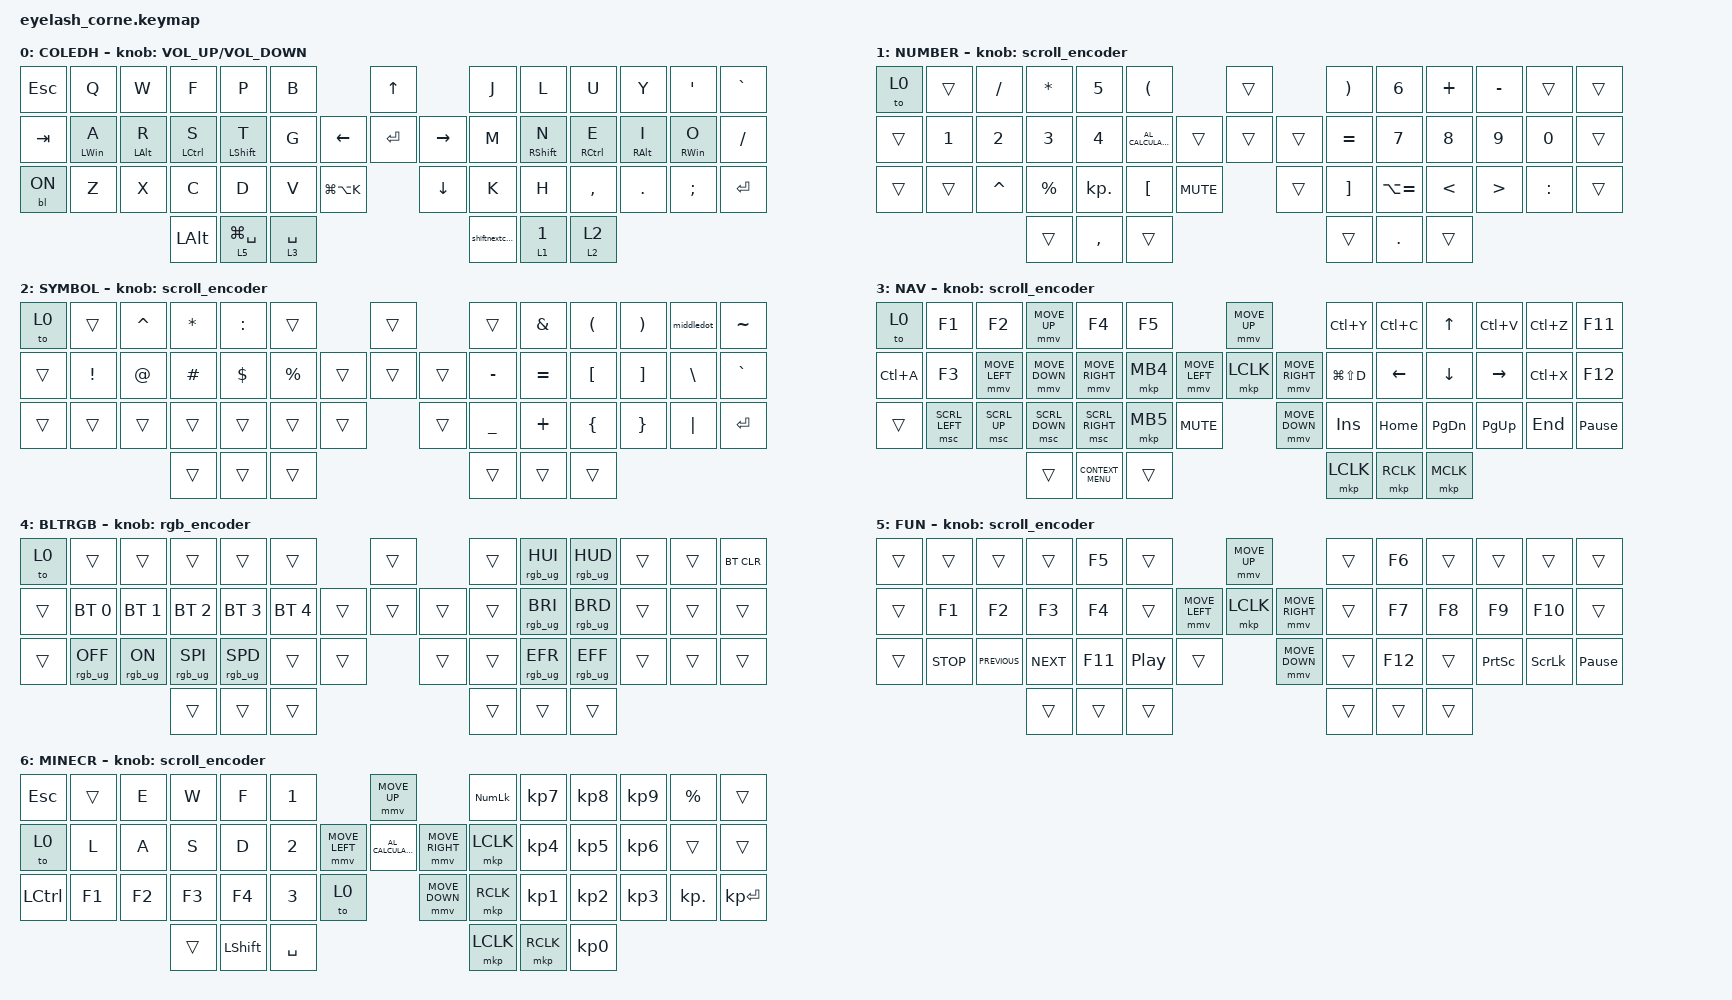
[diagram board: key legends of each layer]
#include <behaviors/num_word.dtsi> // urob's num word from zkm auto layer
#include <dt-bindings/zmk/mouse.h>
#include <input/processors.dtsi>

#define ZMK_POINTING_DEFAULT_MOVE_VAL 1800  // 600, 1200
#define ZMK_MOUSE_DEFAULT_SCRL_VAL 20    // 10

#include <behaviors.dtsi>
#include <dt-bindings/zmk/backlight.h>
#include <dt-bindings/zmk/bt.h>
#include <dt-bindings/zmk/keys.h>
#include <dt-bindings/zmk/pointing.h>
#include <dt-bindings/zmk/pointing.h>
#include <dt-bindings/zmk/pointing.h>
#include <dt-bindings/zmk/rgb.h>

/ {
    behaviors {
        mmv {
            acceleration-exponent = <2>;      // 1
            time-to-max-speed-ms = <40>;    // 40
            delay-ms = <0>;                   // 0
        };

        shiftnextcaps: shiftnextcaps {
            compatible = "zmk,behavior-tap-dance";
            display-name = "Shift/Caps Lock Tap Dance";
            #binding-cells = <0>;
            bindings = <&sk RIGHT_SHIFT>, <&kp CAPS>;

            label = "shiftnextcaps";
        };

        hml: hml {
            compatible = "zmk,behavior-hold-tap";
            label = "HML";
            bindings = <&kp>, <&kp>;

            #binding-cells = <2>;
            tapping-term-ms = <150>;
            quick-tap-ms = <0>;
            flavor = "tap-preferred";
            hold-trigger-key-positions = <14 15 16 17 23 24 25 26>;
        };

        sk_mo: sk_mo {
            compatible = "zmk,behavior-hold-tap";
            label = "SK_MO";
            bindings = <&mo>, <&sk>;

            #binding-cells = <2>;
            tapping-term-ms = <150>;
            flavor = "tap-preferred";
        };

        sl_mo: sl_mo {
            compatible = "zmk,behavior-hold-tap";
            label = "SL_MO";
            bindings = <&mo>, <&sl>;

            #binding-cells = <2>;
            tapping-term-ms = <160>;
            flavor = "tap-preferred";
        };

        num_word: num_word {
            compatible = "zmk,behavior-auto-layer";
            #binding-cells = <1>;
            continue-list = <BSPC DEL DOT COMMA PLUS MINUS STAR FSLH EQUAL>;
            ignore-numbers;
        };

        smart_num: smart_num {
            compatible = "zmk,behavior-hold-tap";
            label = "SMART_NUM";
            bindings = <&mo>, <&num_word>;

            #binding-cells = <2>;
            tapping-term-ms = <150>;
            flavor = "tap-preferred";
        };
    };

    rgb_encoder: rgb_encoder {
        compatible = "zmk,behavior-sensor-rotate";
        #sensor-binding-cells = <0>;
        bindings = <&rgb_ug RGB_BRI>, <&rgb_ug RGB_BRD>;
    };

    scroll_encoder: scroll_encoder {
        compatible = "zmk,behavior-sensor-rotate";
        #sensor-binding-cells = <0>;
        bindings = <&msc SCRL_DOWN>, <&msc SCRL_UP>;

        tap-ms = <30>;
    };

    combos {
        compatible = "zmk,combos";

        ToBLT {
            bindings = <&to 4>;
            key-positions = <5 7>;
            layers = <0>;
        };

        ToMNCR {
            bindings = <&tog 6>;
            key-positions = <0 1>;
            layers = <0>;
        };

        ToNum {
            bindings = <&to 1>;
            key-positions = <46 24>;
            layers = <0>;
        };

        ToSymbol {
            bindings = <&to 2>;
            key-positions = <24 47>;
            layers = <0>;
        };

        ToNav {
            bindings = <&to 3>;
            key-positions = <44 16>;
            layers = <0>;
        };

        cmb_back {
            bindings = <&kp BACKSPACE>;
            key-positions = <23 24>;
        };

        cmb_del {
            bindings = <&kp DEL>;
            key-positions = <24 25>;
        };

        numplus {
            bindings = <&kp KP_PLUS>;
            key-positions = <37 38>;
            layers = <6 1>;
        };

        numminus {
            bindings = <&kp KP_MINUS>;
            key-positions = <38 39>;
            layers = <6 1>;
        };

        nummulti {
            bindings = <&kp KP_MULTIPLY>;
            key-positions = <9 8>;
            layers = <6 1>;
        };

        numdiv {
            bindings = <&kp KP_DIVIDE>;
            key-positions = <9 10>;
            layers = <6 1>;
        };

        cmb_caps {
            bindings = <&kp CAPS>;
            key-positions = <31 32>;
            layers = <0>;
        };

        smartcaps {
            bindings = <&caps_word>;
            key-positions = <16 17>;
            layers = <0>;
        };

        togblt {
            bindings = <&tog 4>;
            key-positions = <1 2>;
            layers = <0>;
        };
    };

    macros {
        middledot: middledot {
            compatible = "zmk,behavior-macro";
            #binding-cells = <0>;
            bindings =
                <&macro_press>,
                <&kp LEFT_ALT>,
                <&macro_tap>,
                <&kp KP_N0 &kp KP_N1 &kp KP_N8 &kp KP_N3>,
                <&macro_release>,
                <&kp LEFT_ALT>;

            label = "MIDDLEDOT";
        };
    };

    keymap {
        compatible = "zmk,keymap";

        default_layer {
            display-name = "COLEDH";
            bindings = <
&kp ESC    &kp Q            &kp W            &kp F         &kp P              &kp B                                   &kp UP                &kp J           &kp L               &kp U         &kp Y             &kp SQT           &kp GRAVE
&kp TAB    &hml LEFT_WIN A  &hml LEFT_ALT R  &hml LCTRL S  &hml LEFT_SHIFT T  &kp G                         &kp LEFT  &kp ENTER  &kp RIGHT  &kp M           &hml RIGHT_SHIFT N  &hml RCTRL E  &hml RIGHT_ALT I  &hml RIGHT_WIN O  &kp FSLH
&bl BL_ON  &kp Z            &kp X            &kp C         &kp D              &kp V        &kp LG(LA(K))              &kp DOWN              &kp K           &kp H               &kp COMMA     &kp DOT           &kp SEMI          &kp RET
                                             &kp LEFT_ALT  &lt 5 LG(SPACE)    &lt 3 SPACE                                                   &shiftnextcaps  &smart_num 1 1      &sl_mo 2 2
            >;

            sensor-bindings = <&inc_dec_kp C_VOLUME_UP C_VOLUME_DOWN>;
            label = "COLEDH";
        };

        lower_layer {
            display-name = "NUMBER";
            bindings = <
&to 0   &trans        &kp FSLH      &kp STAR      &kp N5        &kp LEFT_PARENTHESIS                        &trans          &kp RIGHT_PARENTHESIS  &kp NUMBER_6   &kp PLUS       &kp MINUS         &trans     &trans
&trans  &kp NUMBER_1  &kp NUMBER_2  &kp NUMBER_3  &kp NUMBER_4  &kp C_AL_CALCULATOR                 &trans  &trans  &trans  &kp EQUAL              &kp N7         &kp N8         &kp N9            &kp N0     &trans
&trans  &trans        &kp CARET     &kp PERCENT   &kp KP_DOT    &kp LEFT_BRACKET      &kp C_MUTE            &trans          &kp RIGHT_BRACKET      &kp LA(EQUAL)  &kp LESS_THAN  &kp GREATER_THAN  &kp COLON  &trans
                                    &trans        &kp COMMA     &trans                                                      &trans                 &kp PERIOD     &trans
            >;

            sensor-bindings = <&scroll_encoder>;
        };

        raise_layer {
            display-name = "SYMBOL";
            bindings = <
&to 0   &trans    &kp CARET    &kp STAR  &kp COLON   &trans                         &trans          &trans     &kp AMPS   &kp LEFT_PARENTHESIS  &kp RIGHT_PARENTHESIS  &middledot  &kp TILDE
&trans  &kp EXCL  &kp AT_SIGN  &kp HASH  &kp DOLLAR  &kp PERCENT            &trans  &trans  &trans  &kp MINUS  &kp EQUAL  &kp LBKT              &kp RBKT               &kp BSLH    &kp GRAVE
&trans  &trans    &trans       &trans    &trans      &trans       &trans            &trans          &kp UNDER  &kp PLUS   &kp LBRC              &kp RBRC               &kp PIPE    &kp RET
                               &trans    &trans      &trans                                         &trans     &trans     &trans
            >;

            sensor-bindings = <&scroll_encoder>;
        };

        layer_3 {
            display-name = "NAV";
            bindings = <
&to 0      &kp F1          &kp F2          &mmv MOVE_UP    &kp F4              &kp F5                                  &mmv MOVE_UP                     &kp LC(Y)      &kp LC(C)  &kp UP         &kp LC(V)    &kp LC(Z)  &kp F11
&kp LC(A)  &kp F3          &mmv MOVE_LEFT  &mmv MOVE_DOWN  &mmv MOVE_RIGHT     &mkp MB4                &mmv MOVE_LEFT  &mkp LCLK       &mmv MOVE_RIGHT  &kp LG(LS(D))  &kp LEFT   &kp DOWN       &kp RIGHT    &kp LC(X)  &kp F12
&trans     &msc SCRL_LEFT  &msc SCRL_UP    &msc SCRL_DOWN  &msc SCRL_RIGHT     &mkp MB5  &kp C_MUTE                    &mmv MOVE_DOWN                   &kp INSERT     &kp HOME   &kp PAGE_DOWN  &kp PAGE_UP  &kp END    &kp PAUSE_BREAK
                                           &trans          &kp K_CONTEXT_MENU  &trans                                                                   &mkp LCLK      &mkp RCLK  &mkp MCLK
            >;

            sensor-bindings = <&scroll_encoder>;
            label = "NAV";
        };

        layer_4 {
            bindings = <
&to 0   &trans           &trans          &trans           &trans           &trans                          &trans          &trans  &rgb_ug RGB_HUI  &rgb_ug RGB_HUD  &trans  &trans  &bt BT_CLR
&trans  &bt BT_SEL 0     &bt BT_SEL 1    &bt BT_SEL 2     &bt BT_SEL 3     &bt BT_SEL 4            &trans  &trans  &trans  &trans  &rgb_ug RGB_BRI  &rgb_ug RGB_BRD  &trans  &trans  &trans
&trans  &rgb_ug RGB_OFF  &rgb_ug RGB_ON  &rgb_ug RGB_SPI  &rgb_ug RGB_SPD  &trans        &trans            &trans          &trans  &rgb_ug RGB_EFR  &rgb_ug RGB_EFF  &trans  &trans  &trans
                                         &trans           &trans           &trans                                          &trans  &trans           &trans
            >;

            label = "BLTRGB";
            sensor-bindings = <&rgb_encoder>;
        };

        layer_5 {
            bindings = <
&trans  &trans      &trans          &trans      &kp F5   &trans                                      &mmv MOVE_UP                     &trans  &kp F6   &trans  &trans           &trans          &trans
&trans  &kp F1      &kp F2          &kp F3      &kp F4   &trans                      &mmv MOVE_LEFT  &mkp LCLK       &mmv MOVE_RIGHT  &trans  &kp F7   &kp F8  &kp F9           &kp F10         &trans
&trans  &kp C_STOP  &kp C_PREVIOUS  &kp C_NEXT  &kp F11  &kp C_PLAY_PAUSE  &trans                    &mmv MOVE_DOWN                   &trans  &kp F12  &trans  &kp PRINTSCREEN  &kp SCROLLLOCK  &kp PAUSE_BREAK
                                    &trans      &trans   &trans                                                                       &trans  &trans   &trans
            >;

            label = "FUN";
            sensor-bindings = <&scroll_encoder>;
        };

        layer_6 {
            bindings = <
&kp ESC    &trans  &kp E   &kp W   &kp F      &kp N1                              &mmv MOVE_UP                          &kp KP_NUMLOCK  &kp KP_NUMBER_7  &kp KP_N8  &kp KP_N9  &kp PRCNT   &trans
&to 0      &kp L   &kp A   &kp S   &kp D      &kp N2              &mmv MOVE_LEFT  &kp C_AL_CALCULATOR  &mmv MOVE_RIGHT  &mkp LCLK       &kp KP_N4        &kp KP_N5  &kp KP_N6  &trans      &trans
&kp LCTRL  &kp F1  &kp F2  &kp F3  &kp F4     &kp N3     &to 0                    &mmv MOVE_DOWN                        &mkp RCLK       &kp KP_N1        &kp KP_N2  &kp KP_N3  &kp KP_DOT  &kp KP_ENTER
                           &trans  &kp LSHFT  &kp SPACE                                                                 &mkp LCLK       &mkp RCLK        &kp KP_N0
            >;

            label = "MINECR";
            sensor-bindings = <&scroll_encoder>;
        };
    };
};
